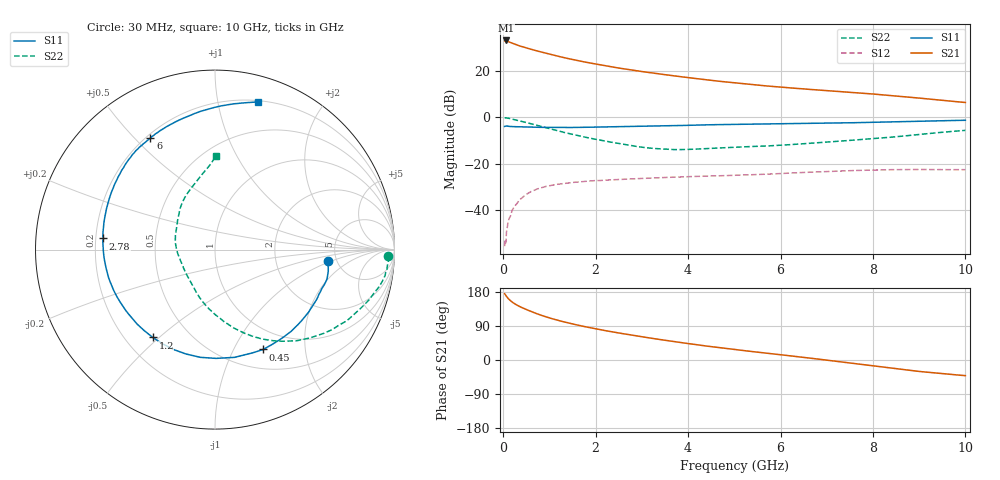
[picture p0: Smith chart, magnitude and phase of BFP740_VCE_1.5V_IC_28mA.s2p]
! Infineon Technologies  Discrete & RF Semiconductors
! BFP740
! VCE =  1.5 V,  IC =  28 mA
! Common Emitter S-Parameters:  Jan 2016
# GHz  S  MA  R  50
!  f  S11  S21  S12  S22
! GHz  MAG  ANG  MAG  ANG  MAG  ANG  MAG  ANG
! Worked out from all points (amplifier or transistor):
!   229 points, 30 MHz to 10 GHz, reference 50 ohm
!   highest |S21| = 32.9 dB at 60 MHz (marker M1)
!   |S21| within 3 dB of that: start of sweep to 468.2 MHz
!   unconditionally stable (mu >= 1): 5.404 GHz to end of sweep
!   at 280 MHz: K = 0.27, MSG = 34.3 dB, |S12| = -37.5 dB
!   at 1.78 GHz: K = 0.52, MSG = 25.6 dB, |S12| = -27.6 dB
!   at 10 GHz: K = 1.04, MAG = 13.2 dB, |S12| = -22.6 dB
!   S11 on the Smith chart (normalised r, x): 30 MHz: 4.24, -0.89; 450 MHz: 0.73, -1.32; 1.2 GHz: 0.31, -0.48; 2.78 GHz: 0.23, +0.05; 6 GHz: 0.22, +0.56; 10 GHz: 0.21, +1.31
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0.03  0.632 -5.7  43.14 175.0  0.0017 93.9  0.9671 -2.2
0.06  0.6424 -10.8  44.19 169.7  0.0021 95.4  0.9645 -5.6
0.08  0.6454 -14.6  43.83 166.3  0.004 78.0  0.9593 -7.7
0.11  0.6333 -20.1  41.96 161.9  0.0056 79.7  0.9492 -10.7
0.15  0.6306 -26.5  40.37 157.2  0.0072 81.4  0.9259 -14.2
0.2  0.6271 -33.9  38.47 152.2  0.0103 76.6  0.9022 -18.2
0.3  0.6224 -47.0  35.44 144.6  0.0141 69.4  0.8544 -25.0
0.45  0.6176 -64.3  31.72 135.7  0.0203 62.7  0.7909 -34.3
0.68  0.6055 -87.5  27.22 124.3  0.0274 53.7  0.6892 -47.1
0.8  0.6058 -97.7  25.32 118.9  0.0301 49.4  0.64 -53.0
1  0.6027 -112.7  22.49 111.0  0.0339 43.5  0.5655 -61.9
1.2  0.5995 -125.3  20.12 104.1  0.0366 38.7  0.5019 -69.6
1.4  0.6004 -136.3  18.09 97.9  0.0387 35.4  0.4498 -76.4
1.7  0.6036 -150.1  15.68 89.7  0.0412 31.1  0.3836 -85.8
2.2  0.6147 -168.6  12.67 77.7  0.0444 25.5  0.3068 -101.3
2.78  0.6278 174.3  10.24 65.5  0.0473 21.8  0.2429 -119.0
3.4  0.6463 159.2  8.399 53.9  0.0502 18.3  0.2085 -141.9
5.1  0.7026 129.8  5.318 26.3  0.0569 11.1  0.2279 166.0
6  0.7177 120.1  4.413 13.9  0.0615 8.1  0.2493 148.6
6.8  0.7364 111.4  3.832 2.6  0.0667 3.8  0.2816 135.6
8.4  0.7923 90.2  2.9 -21.5  0.0745 -7.8  0.3714 110.1
10  0.8563 73.9  2.06 -41.3  0.0745 -17.7  0.52 89.5
